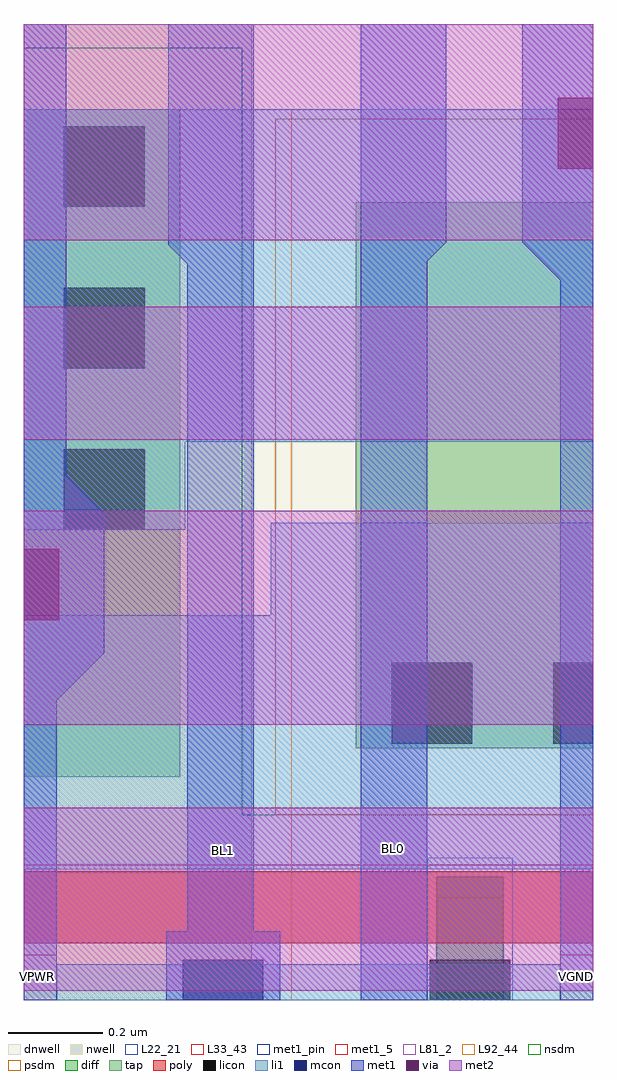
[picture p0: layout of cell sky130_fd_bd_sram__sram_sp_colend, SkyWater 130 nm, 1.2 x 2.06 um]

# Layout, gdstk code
import gdstk
lib = gdstk.Library(unit=1e-6, precision=1e-09)
def R(c, l, rs):  # rectangles x0, y0, x1, y1
    for r in rs: c.add(gdstk.rectangle(r[:2], r[2:], *l))
def A(c, l, x, y, w, h, nx, ny, dx, dy):  # array of equal rectangles
    R(c, l, [(x+i*dx, y+j*dy, x+i*dx+w, y+j*dy+h) for i in range(nx) for j in range(ny)])
def P(c, l, *ps):  # polygons
    for p in ps: c.add(gdstk.Polygon(p, *l))
L22_21 = (22, 21)
L33_43 = (33, 43)
dnwell = (64, 18)
nwell = (64, 20)
diff = (65, 20)
tap = (65, 44)
poly = (66, 20)
licon = (66, 44)
li1 = (67, 20)
mcon = (67, 44)
met1_5 = (68, 5)
met1_pin = (68, 16)
met1 = (68, 20)
via = (68, 44)
met2 = (69, 20)
L81_2 = (81, 2)
L92_44 = (92, 44)
nsdm = (93, 44)
psdm = (94, 20)

sky130_fd_bd_sram__sram_ = lib.new_cell('sky130_fd_bd_sram__sram_sp_colend_ce')
P(sky130_fd_bd_sram__sram_, L22_21, [(0.85,0),(0.85,0.3),(1.03,0.3),(1.03,0),(1.01,0),(1.01,0.215),(0.87,0.215),(0.87,0)])
R(sky130_fd_bd_sram__sram_, dnwell, [(0,0,1.2,2.055)])
R(sky130_fd_bd_sram__sram_, nwell, [(0,0,0.48,2.055)])
R(sky130_fd_bd_sram__sram_, diff, [(0.87,0,1.01,0.26)])
R(sky130_fd_bd_sram__sram_, tap, [(0,0.47,0.33,1.875), (0.7,0.53,1.2,1.68)])
R(sky130_fd_bd_sram__sram_, poly, [(0,0.12,1.2,0.27)])
A(sky130_fd_bd_sram__sram_, licon, 0.085, 0.99, 0.17, 0.17, 1, 3, 0, 0.34)
R(sky130_fd_bd_sram__sram_, licon, [(0.855,0,1.025,0.085), (0.775,0.54,0.945,0.71), (1.115,0.54,1.2,0.71)])
R(sky130_fd_bd_sram__sram_, li1, [(0.07,0,1.13,0.075)])
P(sky130_fd_bd_sram__sram_, li1, [(0,0.99),(0,1.875),(1.2,1.875),(1.2,1.175),(0.34,1.175),(0.34,0.99)],
  [(0,0.275),(0,0.81),(0.52,0.81),(0.52,1.005),(1.2,1.005),(1.2,0.275)])
R(sky130_fd_bd_sram__sram_, mcon, [(0.335,0,0.505,0.085)])
P(sky130_fd_bd_sram__sram_, met1, [(0,0),(0,2.055),(0.09,2.055),(0.09,1.105),(0.17,1.025),(0.17,0.73),(0.07,0.63),(0.07,0)],
  [(0.3,0),(0.3,0.145),(0.345,0.145),(0.345,1.55),(0.305,1.59),(0.305,2.055),(0.485,2.055),(0.485,0.145),(0.54,0.145),(0.54,0)],
  [(0.71,0),(0.71,2.055),(0.89,2.055),(0.89,1.595),(0.85,1.555),(0.85,0)],
  [(1.13,0),(1.13,1.515),(1.05,1.595),(1.05,2.055),(1.2,2.055),(1.2,0)])
R(sky130_fd_bd_sram__sram_, L92_44, [(0,0,0.565,1.875)])
P(sky130_fd_bd_sram__sram_, nsdm, [(0,0),(0,2.005),(0.46,2.005),(0.46,0.39),(1.2,0.39),(1.2,0)])
R(sky130_fd_bd_sram__sram_, psdm, [(0.53,0.39,1.2,1.855)])
sky130_fd_bd_sram__sram_.add(gdstk.Label('npass', (0.94,0.17), layer=66, texttype=83))

c_sky130_fd_bd_sram__sram_ = lib.new_cell('sky130_fd_bd_sram__sram_sp_colend_met2')
R(c_sky130_fd_bd_sram__sram_, via, [(0,0.8,0.075,0.95), (1.125,1.75,1.2,1.9)])
R(c_sky130_fd_bd_sram__sram_, met2, [(0,0.02,1.2,0.405), (0,0.58,1.2,1.03), (0,1.18,1.2,1.46), (0,1.6,1.2,2.055)])

c_sky130_fd_bd_sram__sram__ = lib.new_cell('sky130_fd_bd_sram__sram_sp_colend_p1m_siz')
R(c_sky130_fd_bd_sram__sram__, L33_43, [(0,0.27,1.2,0.285)])

c_sky130_fd_bd_sram__sram___ = lib.new_cell('sky130_fd_bd_sram__sram_sp_colend')
R(c_sky130_fd_bd_sram__sram___, met1_5, [(0,0,0.07,0.095), (1.13,0,1.2,0.095), (0.345,0.275,0.485,0.405), (0.71,0.275,0.85,0.405)])
R(c_sky130_fd_bd_sram__sram___, met1_pin, [(0,0,0.07,0.095), (1.13,0,1.2,0.095), (0.345,0.275,0.485,0.405), (0.71,0.275,0.85,0.405)])
R(c_sky130_fd_bd_sram__sram___, met1, [(0,0,0.07,0.095), (1.13,0,1.2,0.095), (0.345,0.275,0.485,0.405), (0.71,0.275,0.85,0.405)])
R(c_sky130_fd_bd_sram__sram___, L81_2, [(0,0,1.2,1.875)])
c_sky130_fd_bd_sram__sram___.add(gdstk.Reference(sky130_fd_bd_sram__sram_, (0,0)))
c_sky130_fd_bd_sram__sram___.add(gdstk.Reference(c_sky130_fd_bd_sram__sram_, (0,0)))
c_sky130_fd_bd_sram__sram___.add(gdstk.Reference(c_sky130_fd_bd_sram__sram__, (0,0)))
c_sky130_fd_bd_sram__sram___.add(gdstk.Label('BL1', (0.42,0.315), layer=68, texttype=5))
c_sky130_fd_bd_sram__sram___.add(gdstk.Label('VPWR', (0.03,0.05), layer=68, texttype=5))
c_sky130_fd_bd_sram__sram___.add(gdstk.Label('VGND', (1.165,0.05), layer=68, texttype=5))
c_sky130_fd_bd_sram__sram___.add(gdstk.Label('BL0', (0.78,0.32), layer=68, texttype=5))
c_sky130_fd_bd_sram__sram___.add(gdstk.Label('bl1', (0.415,0.34), layer=68, texttype=5))
c_sky130_fd_bd_sram__sram___.add(gdstk.Label('vdd', (0.035,0.048), layer=68, texttype=5))
c_sky130_fd_bd_sram__sram___.add(gdstk.Label('gnd', (1.165,0.048), layer=68, texttype=5))
c_sky130_fd_bd_sram__sram___.add(gdstk.Label('bl0', (0.78,0.34), layer=68, texttype=5))

lib.write_gds('sky130_fd_bd_sram__sram_sp_colend.gds')
